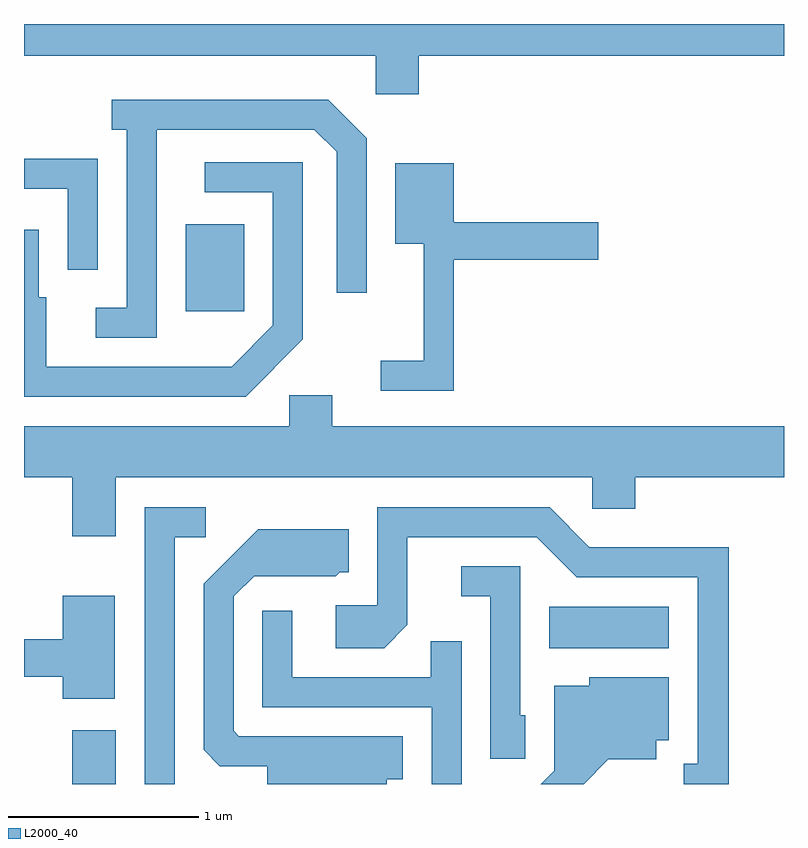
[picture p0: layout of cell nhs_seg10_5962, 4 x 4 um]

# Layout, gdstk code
import gdstk
lib = gdstk.Library(unit=1e-6, precision=1e-09)
def R(c, l, rs):  # rectangles x0, y0, x1, y1
    for r in rs: c.add(gdstk.rectangle(r[:2], r[2:], *l))
def P(c, l, *ps):  # polygons
    for p in ps: c.add(gdstk.Polygon(p, *l))
L2000_40 = (2000, 40)

nhs_seg10_5962 = lib.new_cell('nhs_seg10_5962')
R(nhs_seg10_5962, L2000_40, [(361.866,2114.522,362.094,2114.804), (364.376,2115.236,365.004,2115.454), (362.461,2117.011,362.769,2117.469)])
P(nhs_seg10_5962, L2000_40, [(363.689,2118.356),(365.611,2118.356),(365.611,2118.522),(361.611,2118.522),(361.611,2118.356),(363.461,2118.356),(363.461,2118.151),(363.689,2118.151)],
  [(362.309,2117.966),(363.139,2117.966),(363.256,2117.849),(363.256,2117.108),(363.414,2117.108),(363.414,2117.922),(363.212,2118.124),(362.073,2118.124),(362.073,2117.966),(362.151,2117.966),(362.151,2117.029),(361.988,2117.029),(361.988,2116.871),(362.309,2116.871)],
  [(361.999,2117.814),(361.611,2117.814),(361.611,2117.656),(361.841,2117.656),(361.841,2117.228),(361.999,2117.228)],
  [(363.079,2116.864),(363.079,2117.794),(362.563,2117.794),(362.563,2117.636),(362.921,2117.636),(362.921,2116.937),(362.704,2116.719),(361.729,2116.719),(361.729,2117.084),(361.689,2117.084),(361.689,2117.439),(361.611,2117.439),(361.611,2116.561),(362.777,2116.561)],
  [(363.874,2117.281),(364.634,2117.281),(364.634,2117.479),(363.874,2117.479),(363.874,2117.789),(363.566,2117.789),(363.566,2117.366),(363.716,2117.366),(363.716,2116.749),(363.488,2116.749),(363.488,2116.591),(363.874,2116.591)],
  [(362.094,2116.136),(364.601,2116.136),(364.601,2115.971),(364.829,2115.971),(364.829,2116.136),(365.611,2116.136),(365.611,2116.404),(363.234,2116.404),(363.234,2116.569),(363.006,2116.569),(363.006,2116.404),(361.611,2116.404),(361.611,2116.136),(361.866,2116.136),(361.866,2115.826),(362.094,2115.826)],
  [(365.319,2115.769),(364.587,2115.769),(364.377,2115.979),(363.471,2115.979),(363.471,2115.464),(363.251,2115.464),(363.251,2115.236),(363.507,2115.236),(363.629,2115.359),(363.629,2115.821),(364.309,2115.821),(364.519,2115.611),(365.156,2115.611),(365.156,2114.629),(365.083,2114.629),(365.083,2114.522),(365.319,2114.522)],
  [(362.404,2115.821),(362.568,2115.821),(362.568,2115.979),(362.246,2115.979),(362.246,2114.522),(362.404,2114.522)],
  [(363.519,2114.546),(363.604,2114.546),(363.604,2114.774),(362.742,2114.774),(362.714,2114.802),(362.714,2115.509),(362.822,2115.616),(363.252,2115.616),(363.272,2115.636),(363.319,2115.636),(363.319,2115.864),(362.844,2115.864),(362.556,2115.577),(362.556,2114.702),(362.642,2114.616),(362.891,2114.616),(362.891,2114.522),(363.519,2114.522)],
  [(364.249,2114.884),(364.224,2114.884),(364.224,2115.669),(363.913,2115.669),(363.913,2115.511),(364.066,2115.511),(364.066,2114.656),(364.249,2114.656)],
  [(362.089,2115.514),(361.816,2115.514),(361.816,2115.284),(361.611,2115.284),(361.611,2115.086),(361.816,2115.086),(361.816,2114.971),(362.089,2114.971)],
  [(363.914,2115.273),(363.751,2115.273),(363.751,2115.084),(363.024,2115.084),(363.024,2115.433),(362.866,2115.433),(362.866,2114.926),(363.756,2114.926),(363.756,2114.522),(363.914,2114.522)],
  [(364.687,2114.651),(364.939,2114.651),(364.939,2114.751),(365.004,2114.751),(365.004,2115.084),(364.586,2115.084),(364.586,2115.039),(364.401,2115.039),(364.401,2114.592),(364.332,2114.522),(364.558,2114.522)])

lib.write_gds('nhs_seg10_5962.gds')
